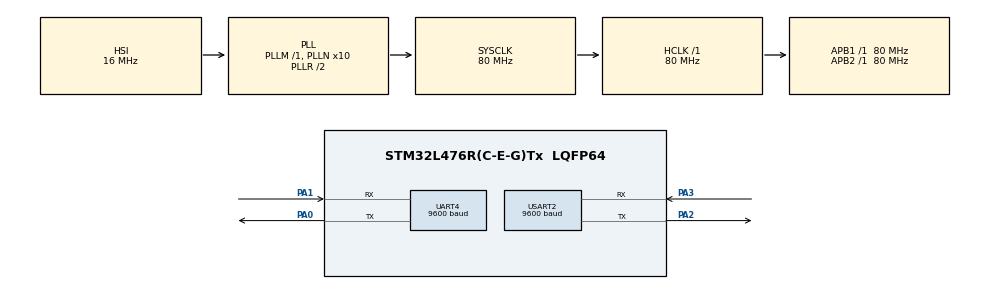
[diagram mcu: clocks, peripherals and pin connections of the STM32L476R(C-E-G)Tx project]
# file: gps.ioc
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Mcu.Family=STM32L4
Mcu.Name=STM32L476R(C-E-G)Tx
Mcu.Package=LQFP64
NVIC.PriorityGroup=NVIC_PRIORITYGROUP_4
NVIC.USART2_IRQn=true\:0\:0\:false\:false\:true\:true\:true\:true
PA0.Mode=Asynchronous
PA0.Signal=UART4_TX
PA1.Mode=Asynchronous
PA1.Signal=UART4_RX
PA2.Mode=Asynchronous
PA2.Signal=USART2_TX
PA3.Mode=Asynchronous
PA3.Signal=USART2_RX
ProjectManager.HeapSize=0x200
ProjectManager.StackSize=0x400
ProjectManager.TargetToolchain=STM32CubeIDE
RCC.ADCFreq_Value=64000000
RCC.AHBFreq_Value=80000000
RCC.APB1Freq_Value=80000000
RCC.APB1TimFreq_Value=80000000
RCC.APB2Freq_Value=80000000
RCC.APB2TimFreq_Value=80000000
RCC.CortexFreq_Value=80000000
RCC.HCLKFreq_Value=80000000
RCC.HSE_VALUE=8000000
RCC.HSI_VALUE=16000000
RCC.LSE_VALUE=32768
RCC.MSI_VALUE=4000000
RCC.PLLN=10
RCC.PLLSourceVirtual=RCC_PLLSOURCE_HSI
RCC.PREFETCH_ENABLE=1
RCC.SYSCLKFreq_VALUE=80000000
RCC.SYSCLKSource=RCC_SYSCLKSOURCE_PLLCLK
RCC.USBFreq_Value=64000000
RCC.VCOOutputFreq_Value=160000000
UART4.BaudRate=9600
USART2.BaudRate=9600
USART2.VirtualMode-Asynchronous=VM_ASYNC
board=NUCLEO-L476RG

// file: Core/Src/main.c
/* USER CODE BEGIN Header */
/**
  ******************************************************************************
  * @file           : main.c
  * @brief          : Main program body
  ******************************************************************************
  * @attention
  *
  * Copyright (c) 2024 STMicroelectronics.
  * All rights reserved.
  *
  * This software is licensed under terms that can be found in the LICENSE file
  * in the root directory of this software component.
  * If no LICENSE file comes with this software, it is provided AS-IS.
  *
  ******************************************************************************
  */
/* USER CODE END Header */
#include "main.h"

/* USER CODE BEGIN PTD */
//add this in main.c

#include<stdio.h>
#include<string.h>
#include<stdbool.h>
#include <stdlib.h>

int _write(int file,char *ptr,int len)
{
	for(int i = 0  ; i < len  ; i++)
		ITM_SendChar((*ptr++));
	return len;
}
/* USER CODE END PTD */

UART_HandleTypeDef huart4;
UART_HandleTypeDef huart2;

/* USER CODE BEGIN PV */
char Rx_data[300];
// Define the maximum length of an NMEA sentence
#define MAX_NMEA_LENGTH 80
// Define the maximum number of JSON entries
#define MAX_JSON_ENTRIES 200 // Adjust the size as needed

int count  = 0;
// Structure to store GPS data
typedef struct {
    char time[9]; // Change to an array to store HH:MM:SS
    double latitude;
    double longitude;
    double altitude;
    // Add more fields as needed
} GPSData;

typedef struct gpsdata
{
	double time;
	float latitude;
	float longitude;
	double Knots;
	double Date;
	char N_OR_S;
	char E_OR_W;
	int fix;
	char Data[750];
	char buffer[100];
	char location[100];
}gpsdata;
uint8_t flag = 0;

/* USER CODE END PV */

void SystemClock_Config(void);
static void MX_GPIO_Init(void);
static void MX_USART2_UART_Init(void);
static void MX_UART4_Init(void);
/* USER CODE BEGIN PFP */
void GPS_receive(void);
void convertNMEATimeToIST(char *, GPSData *);
bool parseGPGGA(GPSData *);
void gpsDataToJSON(const GPSData *,char *, int, int);

#define Min_To_Degree  0.01666666667
#define Sec_To_Degree	 0.000277777778
char rx_data[60],json_str[100],*ptr;
int Flag=0;
gpsdata gps;
void gpsData(gpsdata* data);
static void gpslocation_extraction(gpsdata* data);

/* USER CODE END PFP */

int main(void)
{

  /* MCU Configuration--------------------------------------------------------*/

  /* Reset of all peripherals, Initializes the Flash interface and the Systick. */
  HAL_Init();

  /* Configure the system clock */
  SystemClock_Config();

  /* Initialize all configured peripherals */
  MX_GPIO_Init();
  MX_USART2_UART_Init();
  MX_UART4_Init();
  char *ptr;
  int ret;

  /* Infinite loop */
  /* USER CODE BEGIN WHILE */
  while (1)
  {
#if 0
    /* USER CODE END WHILE */
	  if(HAL_UART_Receive(&huart4,Rx_data,sizeof(Rx_data),1000))
	  	      {
	  	    	  printf("%s\n", Rx_data);
	  	    	//  gpsData(&gps);
	  	      }
	//  GPS_receive();
	  	if(ptr)
	  	{
	  		parseGPGGA(&gpsData);
	  	}
	  //	memset(Rx_data,'\0',sizeof(Rx_data));
	  	 HAL_Delay(1000);
    /* USER CODE BEGIN 3 */
#endif
	  	printf("in loop\n");
	  		     // HAL_UART_Receive(&huart2,gps.Data,sizeof(gps.Data),1000);
	  		     // HAL_UART_Transmit(&huart2,gps.Data,sizeof(gps.Data),1000);
	  		      if(HAL_UART_Receive(&huart4,gps.Data,sizeof(gps.Data),1000))
	  		      {
	  		    	  printf("%s\n", gps.Data);
	  		    	  gpsData(&gps);
	  		      }
	  	       	  /*HAL_UART_Receive(&huart2, rx_data,sizeof(rx_data), 1000);
	  		 	  printf("received string %s\n",rx_data);
	  		 	  //HAL_Delay(1000);
	  		 	  ptr=strstr(rx_data,"GPGGA");

	  		 	  if(ptr!=NULL)
	  		 	  {
	  		 		//uint8_t hi[10];
	  		 		//strcpy(rx_data,hi);

	  		 		//for(int i=0;rx_data[i]!='\0')
	  		 	     HAL_UART_Transmit(&huart2, rx_data, sizeof(rx_data), 100);
	  		 	  	HAL_Delay(1000);
	  		 	  	printf("transmit to serial monitor\n");
	  		 	  }

	  		 		  memset(rx_data,0,sizeof(rx_data)); */

  }
  /* USER CODE END 3 */
}

void SystemClock_Config(void)
{
  RCC_OscInitTypeDef RCC_OscInitStruct = {0};
  RCC_ClkInitTypeDef RCC_ClkInitStruct = {0};

  /** Configure the main internal regulator output voltage
  */
  if (HAL_PWREx_ControlVoltageScaling(PWR_REGULATOR_VOLTAGE_SCALE1) != HAL_OK)
  {
    Error_Handler();
  }

  /** Initializes the RCC Oscillators according to the specified parameters
  * in the RCC_OscInitTypeDef structure.
  */
  RCC_OscInitStruct.OscillatorType = RCC_OSCILLATORTYPE_HSI;
  RCC_OscInitStruct.HSIState = RCC_HSI_ON;
  RCC_OscInitStruct.HSICalibrationValue = RCC_HSICALIBRATION_DEFAULT;
  RCC_OscInitStruct.PLL.PLLState = RCC_PLL_ON;
  RCC_OscInitStruct.PLL.PLLSource = RCC_PLLSOURCE_HSI;
  RCC_OscInitStruct.PLL.PLLM = 1;
  RCC_OscInitStruct.PLL.PLLN = 10;
  RCC_OscInitStruct.PLL.PLLP = RCC_PLLP_DIV7;
  RCC_OscInitStruct.PLL.PLLQ = RCC_PLLQ_DIV2;
  RCC_OscInitStruct.PLL.PLLR = RCC_PLLR_DIV2;
  if (HAL_RCC_OscConfig(&RCC_OscInitStruct) != HAL_OK)
  {
    Error_Handler();
  }

  /** Initializes the CPU, AHB and APB buses clocks
  */
  RCC_ClkInitStruct.ClockType = RCC_CLOCKTYPE_HCLK|RCC_CLOCKTYPE_SYSCLK
                              |RCC_CLOCKTYPE_PCLK1|RCC_CLOCKTYPE_PCLK2;
  RCC_ClkInitStruct.SYSCLKSource = RCC_SYSCLKSOURCE_PLLCLK;
  RCC_ClkInitStruct.AHBCLKDivider = RCC_SYSCLK_DIV1;
  RCC_ClkInitStruct.APB1CLKDivider = RCC_HCLK_DIV1;
  RCC_ClkInitStruct.APB2CLKDivider = RCC_HCLK_DIV1;

  if (HAL_RCC_ClockConfig(&RCC_ClkInitStruct, FLASH_LATENCY_4) != HAL_OK)
  {
    Error_Handler();
  }
}

static void MX_UART4_Init(void)
{

  huart4.Instance = UART4;
  huart4.Init.BaudRate = 9600;
  huart4.Init.WordLength = UART_WORDLENGTH_8B;
  huart4.Init.StopBits = UART_STOPBITS_1;
  huart4.Init.Parity = UART_PARITY_NONE;
  huart4.Init.Mode = UART_MODE_TX_RX;
  huart4.Init.HwFlowCtl = UART_HWCONTROL_NONE;
  huart4.Init.OverSampling = UART_OVERSAMPLING_16;
  huart4.Init.OneBitSampling = UART_ONE_BIT_SAMPLE_DISABLE;
  huart4.AdvancedInit.AdvFeatureInit = UART_ADVFEATURE_NO_INIT;
  if (HAL_UART_Init(&huart4) != HAL_OK)
  {
    Error_Handler();
  }

}

static void MX_USART2_UART_Init(void)
{

  huart2.Instance = USART2;
  huart2.Init.BaudRate = 9600;
  huart2.Init.WordLength = UART_WORDLENGTH_8B;
  huart2.Init.StopBits = UART_STOPBITS_1;
  huart2.Init.Parity = UART_PARITY_NONE;
  huart2.Init.Mode = UART_MODE_TX_RX;
  huart2.Init.HwFlowCtl = UART_HWCONTROL_NONE;
  huart2.Init.OverSampling = UART_OVERSAMPLING_16;
  huart2.Init.OneBitSampling = UART_ONE_BIT_SAMPLE_DISABLE;
  huart2.AdvancedInit.AdvFeatureInit = UART_ADVFEATURE_NO_INIT;
  if (HAL_UART_Init(&huart2) != HAL_OK)
  {
    Error_Handler();
  }

}

static void MX_GPIO_Init(void)
{

  /* GPIO Ports Clock Enable */
  __HAL_RCC_GPIOA_CLK_ENABLE();

}

/* USER CODE BEGIN 4 */
void GPS_receive()
{
	char *ptr;
	int ret = 0;

	// HAL_UART_Transmit(&huart2,(const uint8_t *) tx_data,6,10);
		ret= HAL_UART_Receive(&huart4, (uint8_t *)Rx_data,300, 500);
		ptr = strstr(Rx_data,"GNGGA");

		printf("\n count = %d 	msg = %s\n",count,Rx_data);
		printf("\n%s\n",Rx_data);
		if(ptr != NULL)
		{
			//printf("%s\n",Rx_data);

			flag =1;

			//memset(Rx_data, 0, sizeof(Rx_data));
			//printf("\nif ret = %d count = %d\n",ret,count);
		}
		else
		{
			printf("\nelse ret = %d count = %d\n",ret,count);
			 // memset(Rx_data, 0, sizeof(Rx_data));
		}
		  memset(Rx_data, 0, sizeof(Rx_data));
		count++;

}

void convertNMEATimeToIST(char *nmeaTime, GPSData *gpsData) {
    int hours, minutes, seconds;
    sscanf(nmeaTime, "%2d%2d%2d", &hours, &minutes, &seconds);

    // Convert to IST
    hours += 5;
    minutes += 30;

    // Adjust for overflow
    if (minutes >= 60) {
        minutes -= 60;
        hours++;
    }

    // Adjust for 24-hour clock format
    if (hours >= 24) {
        hours -= 24;
    }

    // Format and store in gpsData
    sprintf(gpsData->time, "%02d:%02d:%02d", hours, minutes, seconds);
}

// Function to parse GPGGA sentences and extract relevant information
bool parseGPGGA(GPSData *gpsData)
{
   // if (strncmp(sentence, "$GPGGA,", 7) == 0) {
        char *tokens[8];
        int tokenCount = 0;
        //char sentenceCopy[MAX_NMEA_LENGTH];
    //    strncpy(sentenceCopy, sentence, sizeof(sentenceCopy));

        char *token = strtok(Rx_data, ",");
        while (token != NULL && tokenCount < 6) {
            tokens[tokenCount++] = token;
            token = strtok(NULL, ",");
        }

        convertNMEATimeToIST(tokens[1], gpsData);

        gpsData->latitude = atof(tokens[2]);
        gpsData->longitude = atof(tokens[4]);
        gpsData->altitude = atof(tokens[9]);

      //  return true;
    //}
        flag = 0;
   // return false;
        return true;
}

void gpsData(gpsdata* data)
{
	char *P;
	int n;
	printf("in func\n");
			//HAL_UART_Receive(&GpsData->UartPort,(uint8_t*)GpsData->Data,700,HAL_MAX_DELAY);
	P=strstr(data->Data,"GNGGA");
	//printf("string found\n");
	if(*P=='G')
	{
	   n=0;
	   while(*(P+n)!='*')
	   {
		   data->location[n]=*(P+n);
		   n++;
	   }
	    printf(" string is %s", data->location);
		sprintf(data->buffer,"%s",data->location);
		sscanf(data->buffer,"GNGGA,%lf,%f,%c,%f,%c,%d,",&data->time,&data->latitude,&data->N_OR_S,&data->longitude,&data->E_OR_W,&data->fix);
		if(data->fix==1||data->fix==2||data->fix==6)
		{
			printf("valid fix\n");
			gpslocation_extraction(data);
		}
		else
		{
			printf("invalid signal no fix\n");
		}
	 }
	else
	{
		printf("no data\n");
	}
}

static void gpslocation_extraction(gpsdata* data)
{
	double Deg_Val=0.0,Min_Val=0.0,Sec_Val=0.0,lon=0.0,lat=0.0;
	int hr,min,sec;

	lon=data->longitude;
	lat=data->latitude;
	if((data->E_OR_W=='E' && data->N_OR_S=='S')||(data->E_OR_W=='W' && data->N_OR_S=='N'))
	{
		Deg_Val=(int)(lon/100);
		Min_Val=(int)(lon-(Deg_Val*100));
		Sec_Val=((lon-(Deg_Val*100))-Min_Val)*100;
		data->longitude=(Deg_Val+(Min_Val*Min_To_Degree)+(Sec_Val*Sec_To_Degree))*-1;
		printf("longitude : %f\n",data->longitude);

		Deg_Val=(int)((lat/100));
		Min_Val=(int)(lat-(Deg_Val*100));
		Sec_Val=((lat-(Deg_Val*100))-Min_Val)*10;
		data->latitude=(Deg_Val+(Min_Val*Min_To_Degree)+(Sec_Val*Sec_To_Degree));
		printf("latitude : %f\n",data->latitude);
	}
	    hr=(int)(data->time)/10000;
	    min=(int)(data->time-(hr*10000))/100;
	    sec=(int)(data->time-((hr*10000)+(min*100)));
	    //sprintf(time_buf, "%d:%d:%d",hr,min,sec);
	    printf("time: %d:%d%d\n",hr,min,sec);
	    //printf("time: %lf\n",data->time);
		sprintf(json_str,"{\"latitude\":%f,\n \"longitude\":%f,\n \"time\":%lf\n }",data->latitude, data->longitude,data->time);
		printf("json format is %s\n",json_str);

}

// Function to convert GPS data to JSON format
void gpsDataToJSON(const GPSData *gpsData, char *jsonBuffer, int bufferSize, int index)
{
    snprintf(jsonBuffer, bufferSize, "{%d: {\"time\": \"%s\", \"latitude\": %.6f, \"longitude\": %.6f, \"altitude\": %.2f}}",index, gpsData->time, gpsData->latitude, gpsData->longitude, gpsData->altitude);
    printf("%s\n",jsonBuffer);
}
/* USER CODE END 4 */

void Error_Handler(void)
{
  __disable_irq();
  while (1)
  {
  }
}
